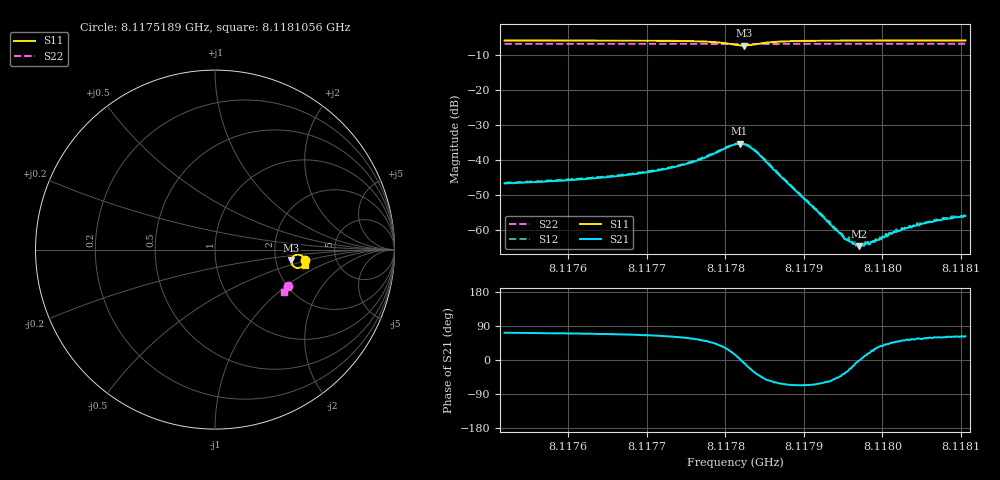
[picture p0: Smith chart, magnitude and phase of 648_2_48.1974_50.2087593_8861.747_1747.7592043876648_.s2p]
#  HZ  S  RI  R  50.00
! Rohde & Schwarz Vector Network Analyzer
! Rohde-Schwarz,ZNB20-2Port,1311601062101988,3.16
! Created: UTC 3/20/2024, 12:05:06 PM
! freq[Hz]  re:S11  im:S11  re:S21  im:S21  re:S12  im:S12  re:S22  im:S22
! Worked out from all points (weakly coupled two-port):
!   401 points, 8.1175189 GHz to 8.1181056 GHz, reference 50 ohm
!   highest |S21| = -35.35 dB at 8.1178181 GHz (marker M1); lowest = -64.5 dB at 8.1179707 GHz (marker M2)
!   lowest |S11| = -7.3 dB at 8.117824 GHz (marker M3), VSWR 2.50, Z = 122 - j17.4 ohm
!   |S11| at or under -10 dB: nowhere
!   |S22| runs from -6.9 to -6.9 dB; largest |S21 - S12| = 0.00056
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8.11751889e9  0.5037 -0.0561  0.00145 0.00443  0.00146 0.00454  0.4049 -0.2024
8.11761717e9  0.5015 -0.0668  0.00186 0.00502  0.00194 0.00512  0.4019 -0.2089
8.11767144e9  0.4994 -0.074  0.00233 0.00565  0.00241 0.00574  0.4003 -0.2125
8.11771545e9  0.4958 -0.0818  0.00318 0.00645  0.00327 0.0066  0.3986 -0.2154
8.11776092e9  0.4857 -0.0937  0.00539 0.00793  0.0056 0.0081  0.397 -0.2184
8.11779466e9  0.4593 -0.1022  0.011 0.00835  0.0113 0.00833  0.3946 -0.2205
8.11781226e9  0.4319 -0.0872  0.0162 0.00413  0.0166 0.00415  0.3929 -0.2207
8.11781813e9  0.4256 -0.074  0.017 0.00103  0.0175 0.00104  0.3927 -0.2203
8.117824e9  0.4252 -0.058  0.0165 -0.00246  0.0169 -0.00242  0.3926 -0.22
8.11783133e9  0.4339 -0.0405  0.0142 -0.0059  0.0146 -0.00594  0.3929 -0.2196
8.1178416e9  0.4536 -0.0286  0.0097 -0.00779  0.00992 -0.00812  0.3937 -0.22
8.117868e9  0.4862 -0.0367  0.00297 -0.00548  0.00305 -0.00566  0.3942 -0.2224
8.11791054e9  0.4982 -0.0548  0.00091 -0.002  0.000932 -0.00205  0.3932 -0.2257
8.11795161e9  0.5002 -0.0647  0.000608 -0.000444  0.00065 -0.000455  0.3919 -0.2287
8.11796628e9  0.5004 -0.0675  0.000615 -8.3e-05  0.000594 -0.00011  0.3912 -0.2297
8.11797068e9  0.5004 -0.0683  0.000595 -1.63e-05  0.000611 -1.96e-05  0.3912 -0.2299
8.11798682e9  0.5005 -0.0707  0.000615 0.000297  0.000612 0.000297  0.3908 -0.2311
8.11800882e9  0.5005 -0.0739  0.000635 0.000609  0.000656 0.000642  0.39 -0.2324
8.11802789e9  0.5004 -0.0763  0.000655 0.000814  0.000639 0.000842  0.3893 -0.2336
8.11804696e9  0.5002 -0.0786  0.000639 0.000988  0.000707 0.00102  0.3887 -0.2349
8.11808656e9  0.4997 -0.083  0.000723 0.00129  0.000728 0.00133  0.3873 -0.2373
8.11810563e9  0.4994 -0.0848  0.000732 0.00143  0.000753 0.00144  0.3867 -0.2386
